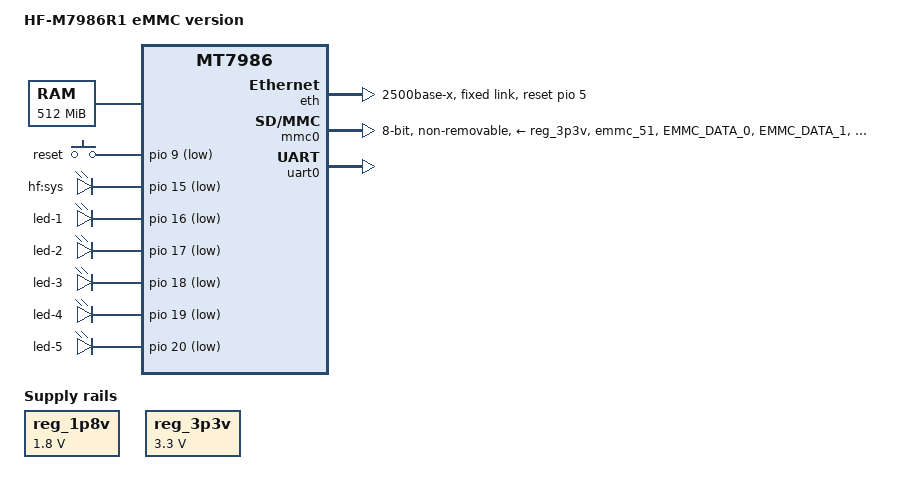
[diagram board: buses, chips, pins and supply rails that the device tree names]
// SPDX-License-Identifier: GPL-2.0-or-later OR MIT
// Hardware derived from lede DTS mt7986a-hf-m7986r1-emmc.dts (eMMC),
// converted to uboot DTS idiom (eMMC boot, GPT partition, no mtd-layout).

/dts-v1/;
#include "mt7986.dtsi"
#include <dt-bindings/gpio/gpio.h>
#include <dt-bindings/input/linux-event-codes.h>

/ {
	#address-cells = <1>;
	#size-cells = <1>;
	model = "HF-M7986R1 eMMC version";
	compatible = "mediatek,mt7986", "mediatek,mt7986-rfb";

	chosen {
		stdout-path = &uart0;
		tick-timer = &timer0;
	};

	config {
		bootcmd = "mtkboardboot";
		blink_led = "hf:sys";
		system_led = "hf:sys";
	};

	reg_1p8v: regulator-1p8v {
		compatible = "regulator-fixed";
		regulator-name = "fixed-1.8V";
		regulator-min-microvolt = <1800000>;
		regulator-max-microvolt = <1800000>;
		regulator-boot-on;
		regulator-always-on;
	};

	reg_3p3v: regulator-3p3v {
		compatible = "regulator-fixed";
		regulator-name = "fixed-3.3V";
		regulator-min-microvolt = <3300000>;
		regulator-max-microvolt = <3300000>;
		regulator-boot-on;
		regulator-always-on;
	};

	memory@40000000 {
		device_type = "memory";
		reg = <0x40000000 0x20000000>;
	};

	gpio-keys {
		compatible = "gpio-keys";

		button-reset {
			label = "reset";
			linux,code = <KEY_RESTART>;
			gpios = <&pio 9 GPIO_ACTIVE_LOW>;
		};
	};

	gpio-leds {
		compatible = "gpio-leds";

		sys_led: led-0 {
			label = "hf:sys";
			gpios = <&pio 15 GPIO_ACTIVE_LOW>;
		};

		led-1 {
			label = "led-1";
			gpios = <&pio 16 GPIO_ACTIVE_LOW>;
		};

		led-2 {
			label = "led-2";
			gpios = <&pio 17 GPIO_ACTIVE_LOW>;
		};

		led-3 {
			label = "led-3";
			gpios = <&pio 18 GPIO_ACTIVE_LOW>;
		};

		led-4 {
			label = "led-4";
			gpios = <&pio 19 GPIO_ACTIVE_LOW>;
		};

		led-5 {
			label = "led-5";
			gpios = <&pio 20 GPIO_ACTIVE_LOW>;
		};
	};

	bl2_verify {
		bl2_compatible = "emmc";
	};
};

&eth {
	status = "okay";
	mediatek,gmac-id = <0>;
	phy-mode = "2500base-x";
	mediatek,switch = "auto";
	reset-gpios = <&pio 5 GPIO_ACTIVE_HIGH>;

	fixed-link {
		speed = <2500>;
		full-duplex;
	};
};

&mmc0 {
	pinctrl-names = "default";
	pinctrl-0 = <&mmc0_pins_default>;
	bus-width = <8>;
	max-frequency = <200000000>;
	cap-mmc-highspeed;
	cap-mmc-hw-reset;
	vmmc-supply = <&reg_3p3v>;
	vqmmc-supply = <&reg_1p8v>;
	non-removable;
	status = "okay";
};

&pio {
	mmc0_pins_default: mmc0default {
		mux {
			function = "flash";
			groups =  "emmc_51";
		};

		conf-cmd-dat {
			pins = "EMMC_DATA_0", "EMMC_DATA_1", "EMMC_DATA_2",
			       "EMMC_DATA_3", "EMMC_DATA_4", "EMMC_DATA_5",
			       "EMMC_DATA_6", "EMMC_DATA_7", "EMMC_CMD";
			input-enable;
			drive-strength = <MTK_DRIVE_4mA>;
			bias-pull-up = <MTK_PUPD_SET_R1R0_01>;
		};

		conf-clk {
			pins = "EMMC_CK";
			drive-strength = <MTK_DRIVE_6mA>;
			bias-pull-down = <MTK_PUPD_SET_R1R0_10>;
		};

		conf-dsl {
			pins = "EMMC_DSL";
			bias-pull-down = <MTK_PUPD_SET_R1R0_10>;
		};

		conf-rst {
			pins = "EMMC_RSTB";
			drive-strength = <MTK_DRIVE_4mA>;
			bias-pull-up = <MTK_PUPD_SET_R1R0_01>;
		};
	};
};

&uart0 {
	status = "okay";
};

&watchdog {
	status = "disabled";
};
